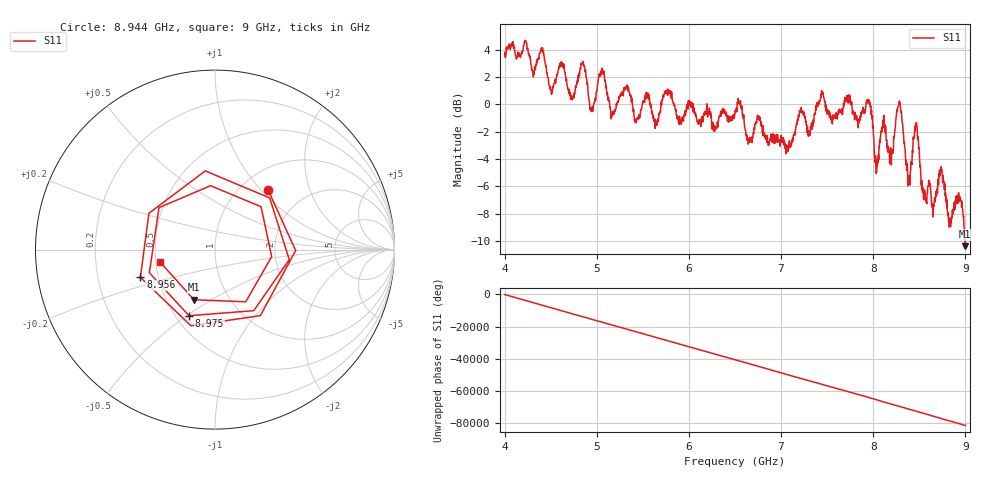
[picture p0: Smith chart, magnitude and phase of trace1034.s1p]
! Created with skrf 1.8.0 (http://scikit-rf.org).
# Hz S RI R 50.0
!freq ReS11 ImS11
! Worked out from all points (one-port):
!   1601 points, 4 GHz to 9 GHz, reference 50 ohm
!   lowest |S11| = -10.4 dB at 8.997 GHz (marker M1), VSWR 1.87, Z = 34.2 - j21.1 ohm
!   |S11| at or under -10 dB: 8.995811 GHz to end of sweep
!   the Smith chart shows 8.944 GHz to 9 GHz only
!   S11 on the Smith chart (normalised r, x): 8.944 GHz: 1.33, +1.09; 8.956 GHz: 0.40, -0.15; 8.975 GHz: 0.58, -0.51; 9 GHz: 0.53, -0.08
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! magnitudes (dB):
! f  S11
! 4 GHz  3.6
! 4.403 GHz  3.9
! 4.506 GHz  0.9
! 4.625 GHz  3.0
! 4.734 GHz  0.3
! 4.853 GHz  3.1
! 4.944 GHz  -0.2
! 5.053 GHz  2.2
! 5.166 GHz  -0.9
! 5.25 GHz  0.6
! 5.875 GHz  -0.8
! 6.5 GHz  -0.7
! 7.125 GHz  -2.5
! 7.438 GHz  0.8
! 7.75 GHz  0.6
! 7.95 GHz  0.2
! 8.034 GHz  -4.9
! 8.109 GHz  -1.4
! 8.194 GHz  -3.8
! 8.281 GHz  0.1
! 8.375 GHz  -5.4
! 8.462 GHz  -1.5
! 8.559 GHz  -6.4
! 8.944 GHz  -7.0
! 8.956 GHz  -7.1
! 8.975 GHz  -8.1
! 8.997 GHz  -10.4
! 9 GHz  -10.1
